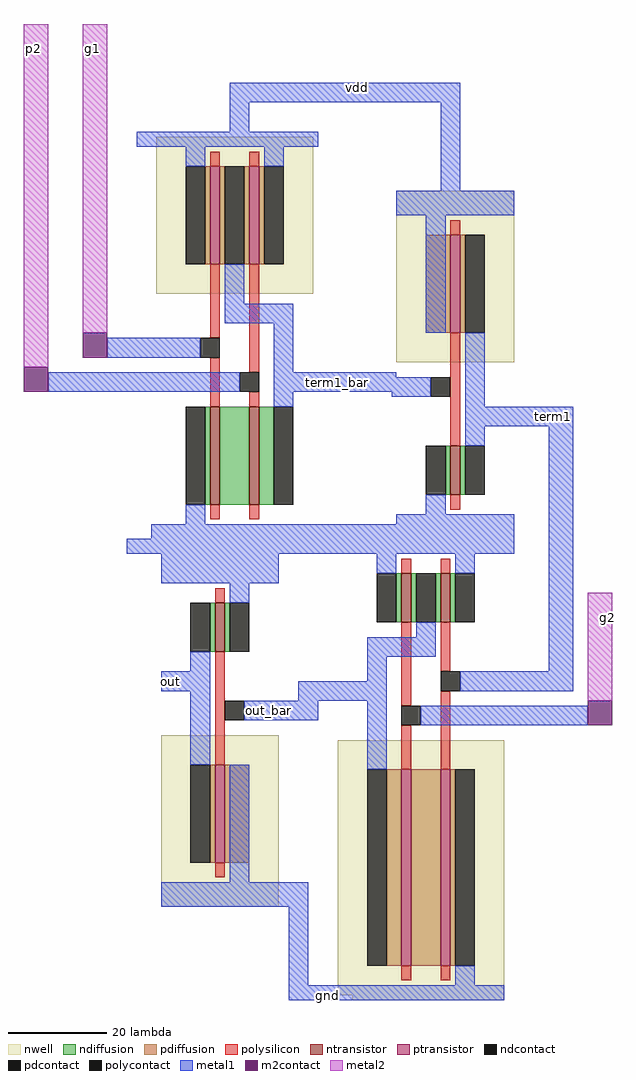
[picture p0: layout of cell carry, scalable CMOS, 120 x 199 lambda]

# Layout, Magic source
magic
tech scmos
<< nwell >>
rect 7 77 11 80
rect 38 -91 72 -90
rect 41 -94 72 -91
<< metal1 >>
rect 16 89 63 93
rect -3 80 1 83
rect 16 80 20 89
rect 30 80 34 83
rect 7 77 11 80
rect 59 66 63 89
rect -9 37 4 41
rect -21 30 18 34
rect 25 33 50 34
rect 25 30 57 33
rect 49 29 50 30
rect 72 23 86 27
rect 0 0 74 3
rect -5 -3 74 0
rect 2 -9 26 -3
rect 81 -27 86 23
rect 2 -31 12 -27
rect 30 -33 48 -29
rect 63 -31 86 -27
rect 19 -37 34 -33
rect 71 -38 89 -34
rect 26 -72 32 -70
rect 24 -75 32 -72
rect 28 -91 32 -75
rect 28 -94 40 -91
rect 41 -94 72 -91
<< m2contact >>
rect -14 37 -9 42
rect -26 30 -21 35
rect 89 -38 94 -33
<< metal2 >>
rect -26 35 -21 105
rect -14 42 -9 105
rect 89 -33 94 -11
use 2NAND_WO  2NAND_WO_0
transform 1 0 1 0 1 50
box -1 -50 32 33
use 2INV  2INV_0
transform 1 0 50 0 1 -45
box 0 45 24 116
use 2INV  2INV_1
transform -1 0 26 0 -1 41
box 0 45 24 116
use 2NOR_WO  2NOR_WO_0
transform -1 0 72 0 -1 -42
box -1 -42 34 52
<< labels >>
rlabel metal2 -12 100 -12 100 5 g1
rlabel metal2 93 -16 93 -16 7 g2
rlabel metal1 36 -93 36 -93 1 gnd
rlabel metal1 42 92 42 92 1 vdd
rlabel metal1 82 25 82 25 1 term1
rlabel metal2 -24 100 -24 100 4 p2
rlabel metal1 38 32 38 32 1 term1_bar
rlabel metal1 24 -35 24 -35 1 out_bar
rlabel metal1 4 -29 4 -29 1 out
<< end >>

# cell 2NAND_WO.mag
magic
tech scmos
<< nwell >>
rect 0 0 32 32
<< ntransistor >>
rect 11 -43 13 -23
rect 19 -43 21 -23
<< ptransistor >>
rect 11 6 13 26
rect 19 6 21 26
<< ndiffusion >>
rect 10 -43 11 -23
rect 13 -43 19 -23
rect 21 -43 24 -23
<< pdiffusion >>
rect 10 6 11 26
rect 13 6 14 26
rect 18 6 19 26
rect 21 6 22 26
<< ndcontact >>
rect 6 -43 10 -23
rect 24 -43 28 -23
<< pdcontact >>
rect 6 6 10 26
rect 14 6 18 26
rect 22 6 26 26
<< polysilicon >>
rect 11 26 13 29
rect 19 26 21 29
rect 11 -9 13 6
rect 11 -23 13 -13
rect 19 -16 21 6
rect 19 -23 21 -20
rect 11 -46 13 -43
rect 19 -46 21 -43
<< polycontact >>
rect 9 -13 13 -9
rect 17 -20 21 -16
<< metal1 >>
rect 0 30 32 33
rect 6 26 10 30
rect 22 26 26 30
rect 14 -2 18 6
rect 14 -6 28 -2
rect 0 -13 9 -9
rect 24 -16 28 -6
rect 0 -20 17 -16
rect 24 -20 32 -16
rect 24 -23 28 -20
rect 6 -47 10 -43
rect -1 -50 26 -47
<< end >>

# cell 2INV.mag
magic
tech scmos
<< nwell >>
rect 0 81 24 116
<< ntransistor >>
rect 11 54 13 64
<< ptransistor >>
rect 11 87 13 107
<< ndiffusion >>
rect 10 54 11 64
rect 13 54 14 64
<< pdiffusion >>
rect 6 87 11 107
rect 13 87 14 107
<< ndcontact >>
rect 6 54 10 64
rect 14 54 18 64
<< pdcontact >>
rect 14 87 18 107
<< polysilicon >>
rect 11 107 13 110
rect 11 64 13 87
rect 11 51 13 54
<< polycontact >>
rect 7 74 11 78
<< metal1 >>
rect 0 111 24 116
rect 6 87 10 111
rect 0 74 7 78
rect 14 72 18 87
rect 14 68 24 72
rect 14 64 18 68
rect 6 50 10 54
rect 0 45 24 50
<< end >>

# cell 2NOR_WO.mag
magic
tech scmos
<< nwell >>
rect 0 -1 34 51
<< ntransistor >>
rect 11 -35 13 -25
rect 19 -35 21 -25
<< ptransistor >>
rect 11 5 13 45
rect 19 5 21 45
<< ndiffusion >>
rect 10 -35 11 -25
rect 13 -35 14 -25
rect 18 -35 19 -25
rect 21 -35 22 -25
<< pdiffusion >>
rect 10 5 11 45
rect 13 5 19 45
rect 21 5 24 45
<< ndcontact >>
rect 6 -35 10 -25
rect 14 -35 18 -25
rect 22 -35 26 -25
<< pdcontact >>
rect 6 5 10 45
rect 24 5 28 45
<< polysilicon >>
rect 11 45 13 48
rect 19 45 21 48
rect 11 -11 13 5
rect 19 -4 21 5
rect 11 -25 13 -15
rect 19 -25 21 -8
rect 11 -38 13 -35
rect 19 -38 21 -35
<< polycontact >>
rect 17 -8 21 -4
rect 9 -15 13 -11
<< metal1 >>
rect 0 49 34 52
rect 6 45 10 49
rect 0 -8 17 -4
rect 24 -9 28 5
rect 0 -15 9 -11
rect 24 -13 34 -9
rect 24 -18 28 -13
rect 14 -22 28 -18
rect 14 -25 18 -22
rect 6 -39 10 -35
rect 22 -39 26 -35
rect -1 -42 34 -39
<< end >>
